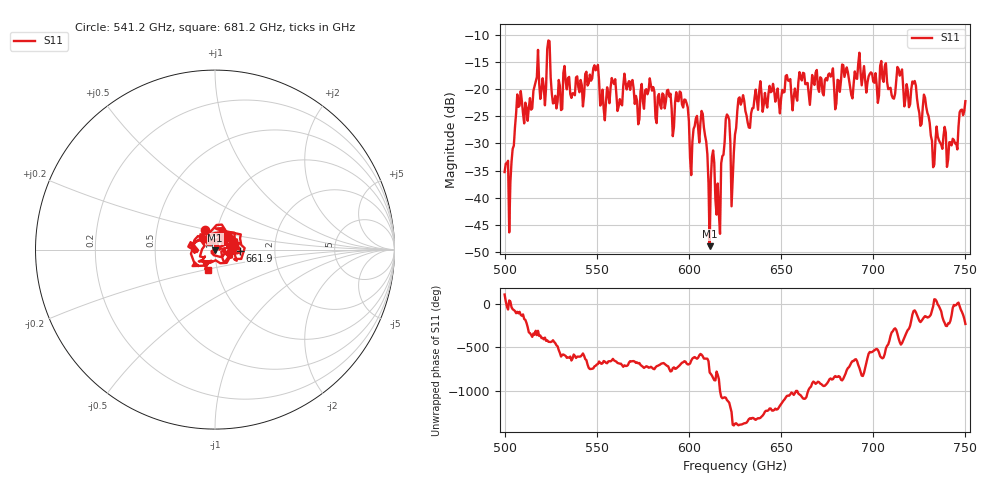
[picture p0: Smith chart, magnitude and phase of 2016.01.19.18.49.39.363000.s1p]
!Created with skrf (http://scikit-rf.org).
# GHz S RI R 50.0
!freq ReS11 ImS11
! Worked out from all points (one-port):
!   401 points, 500 GHz to 750 GHz, reference 50 ohm
!   lowest |S11| = -48.9 dB at 611.2 GHz (marker M1), VSWR 1.01, Z = 50.1 - j0.33 ohm
!   |S11| at or under -10 dB: start of sweep to end of sweep
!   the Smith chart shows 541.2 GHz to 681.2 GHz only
!   S11 on the Smith chart (normalised r, x): 541.2 GHz: 0.88, +0.19; 661.9 GHz: 1.33, -0.02; 681.2 GHz: 0.90, -0.21
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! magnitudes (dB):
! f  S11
! 500 GHz  -35.3
! 503.8 GHz  -33.4
! 507.5 GHz  -23.3
! 523.8 GHz  -11.1
! 526.9 GHz  -22.5
! 531.2 GHz  -23.7
! 541.2 GHz  -18.3
! 549.4 GHz  -16.6
! 553.1 GHz  -20.1
! 562.5 GHz  -21.9
! 593.8 GHz  -22.2
! 601.2 GHz  -35.8
! 607.5 GHz  -24.6
! 611.2 GHz  -48.9
! 613.1 GHz  -31.3
! 615.6 GHz  -37.4
! 620.6 GHz  -24.7
! 623.8 GHz  -36.6
! 625 GHz  -28.4
! 628.1 GHz  -22.9
! 656.2 GHz  -23.9
! 661.9 GHz  -17.0
! 681.2 GHz  -18.4
! 687.5 GHz  -19.6
! 718.8 GHz  -20.3
! 728.8 GHz  -23.3
! 732.5 GHz  -34.4
! 750 GHz  -22.2
